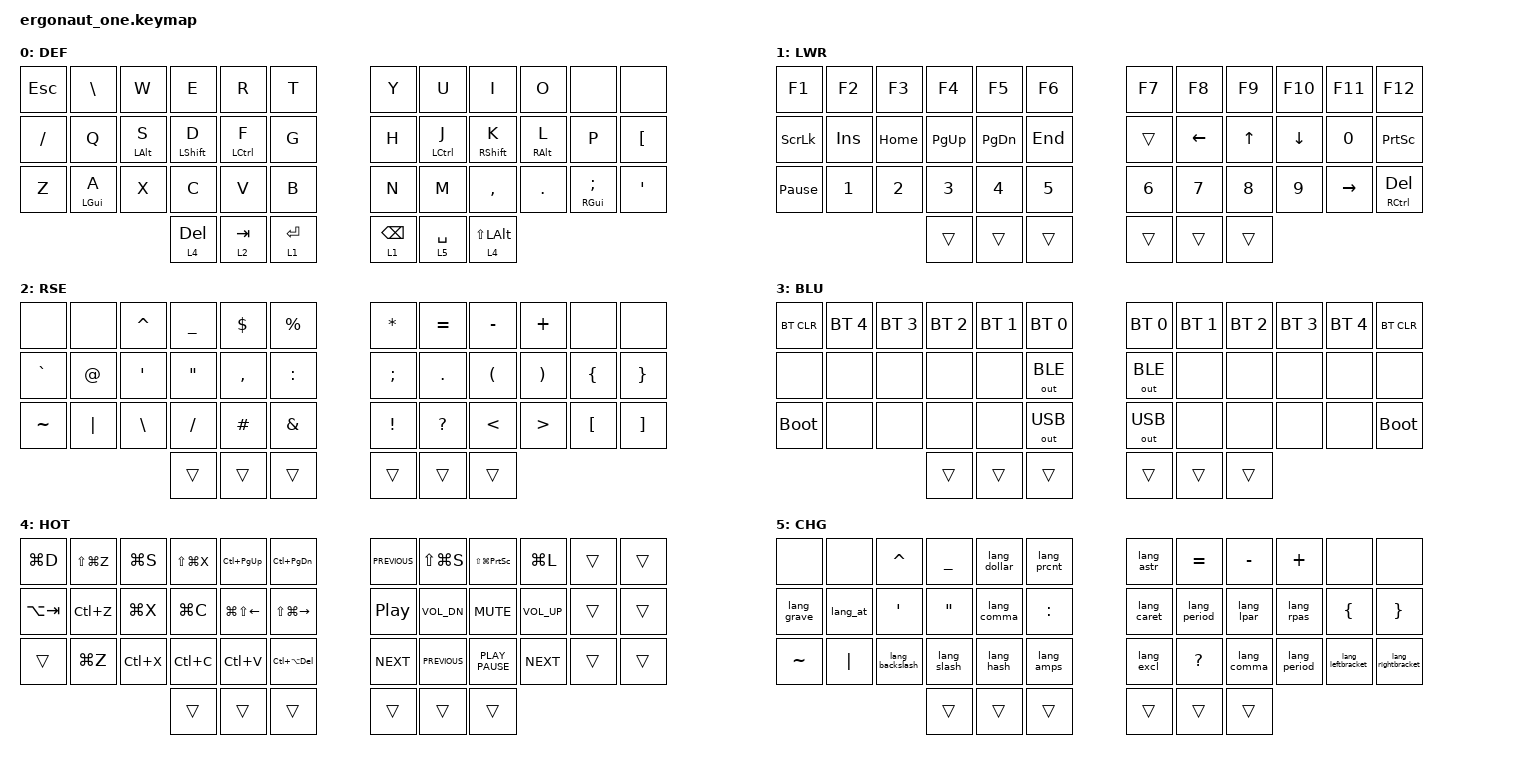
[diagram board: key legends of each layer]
#include <behaviors.dtsi>
#include <dt-bindings/zmk/bt.h>
#include <dt-bindings/zmk/keys.h>
#include <dt-bindings/zmk/outputs.h>

#define DEF 0
#define LWR 1
#define RSE 2
#define BLU 3
#define HOT 4
#define CHG 5

&lt {
    quick-tap-ms = <150>;
    tapping-term-ms = <150>;
};

&mt {
    quick-tap-ms = <200>;
    tapping-term-ms = <220>;
};

/ {
    conditional_layers { compatible = "zmk,conditional-layers"; };

    combos {
        compatible = "zmk,combos";

        bluetooth_layer_1 {
            bindings = <&mo BLU>;
            key-positions = <37 36 38>;
        };

        bluetooth_layer_2 {
            bindings = <&mo BLU>;
            key-positions = <41 36>;
        };

        bluetooth_layer_3 {
            bindings = <&mo BLU>;
            key-positions = <39 40 41>;
        };
    };

    macros {
        shift_lang: shift_lang {
            compatible = "zmk,behavior-macro";
            #binding-cells = <0>;
            bindings = <&kp LS(LALT)>;
        };

        lang_dollar: lang_dollar {
            compatible = "zmk,behavior-macro";
            #binding-cells = <0>;
            bindings = <&shift_lang &kp DOLLAR &shift_lang>;
        };

        lang_hash: lang_hash {
            compatible = "zmk,behavior-macro";
            #binding-cells = <0>;
            bindings = <&shift_lang &kp HASH &shift_lang>;
        };

        lang_at: lang_at {
            compatible = "zmk,behavior-macro";
            #binding-cells = <0>;
            bindings = <&shift_lang &kp AT_SIGN &shift_lang>;
        };

        lang_excl: lang_excl {
            compatible = "zmk,behavior-macro";
            #binding-cells = <0>;
            bindings = <&shift_lang &kp EXCLAMATION &shift_lang>;
        };

        lang_amps: lang_amps {
            compatible = "zmk,behavior-macro";
            #binding-cells = <0>;
            bindings = <&shift_lang &kp AMPERSAND &shift_lang>;
        };

        lang_astr: lang_astr {
            compatible = "zmk,behavior-macro";
            #binding-cells = <0>;
            bindings = <&shift_lang &kp ASTERISK &shift_lang>;
        };

        lang_lpar: lang_lpar {
            compatible = "zmk,behavior-macro";
            #binding-cells = <0>;
            bindings = <&shift_lang &kp LEFT_PARENTHESIS &shift_lang>;
        };

        lang_rpas: lang_rpas {
            compatible = "zmk,behavior-macro";
            #binding-cells = <0>;
            bindings = <&shift_lang &kp RIGHT_PARENTHESIS &shift_lang>;
        };

        lang_prcnt: lang_prcnt {
            compatible = "zmk,behavior-macro";
            #binding-cells = <0>;
            bindings = <&shift_lang &kp PERCENT &shift_lang>;
        };

        lang_caret: lang_caret {
            compatible = "zmk,behavior-macro";
            #binding-cells = <0>;
            bindings = <&shift_lang &kp CARET &shift_lang>;
        };

        lang_comma: lang_comma {
            compatible = "zmk,behavior-macro";
            #binding-cells = <0>;
            bindings = <&shift_lang &kp COMMA &shift_lang>;
        };

        lang_period: lang_period {
            compatible = "zmk,behavior-macro";
            #binding-cells = <0>;
            bindings = <&shift_lang &kp PERIOD &shift_lang>;
        };

        lang_slash: lang_slash {
            compatible = "zmk,behavior-macro";
            #binding-cells = <0>;
            bindings = <&shift_lang &kp SLASH &shift_lang>;
        };

        lang_backslash: lang_backslash {
            compatible = "zmk,behavior-macro";
            #binding-cells = <0>;
            bindings = <&shift_lang &kp BACKSLASH &shift_lang>;
        };

        lang_leftbracket: lang_leftbracket {
            compatible = "zmk,behavior-macro";
            #binding-cells = <0>;
            bindings = <&shift_lang &kp LEFT_BRACKET &shift_lang>;
        };

        lang_rightbracket: lang_rightbracket {
            compatible = "zmk,behavior-macro";
            #binding-cells = <0>;
            bindings = <&shift_lang &kp RIGHT_BRACKET &shift_lang>;
        };

        lang_grave: lang_grave {
            compatible = "zmk,behavior-macro";
            #binding-cells = <0>;
            bindings = <&shift_lang &kp GRAVE &shift_lang>;
        };
    };

    keymap {
        compatible = "zmk,keymap";

        default_layer {
            display-name = "DEF";
            bindings = <
&kp ESC    &kp BACKSLASH   &kp W           &kp E             &kp R        &kp T      &kp Y            &kp U        &kp I              &kp O            &none                    &none
&kp SLASH  &kp Q           &mt LEFT_ALT S  &mt LEFT_SHIFT D  &mt LCTRL F  &kp G      &kp H            &mt LCTRL J  &mt RIGHT_SHIFT K  &mt RIGHT_ALT L  &kp P                    &kp LEFT_BRACKET
&kp Z      &mt LEFT_GUI A  &kp X           &kp C             &kp V        &kp B      &kp N            &kp M        &kp COMMA          &kp DOT          &mt RIGHT_GUI SEMICOLON  &kp SQT
                                           &lt 4 DEL         &lt 2 TAB    &lt 1 RET  &lt 1 BACKSPACE  &lt 5 SPACE  &lt 4 LS(LALT)
            >;
        };

        lower_layer {
            display-name = "LWR";
            bindings = <
&kp F1           &kp F2      &kp F3    &kp F4     &kp F5     &kp F6   &kp F7  &kp F8    &kp F9  &kp F10   &kp F11       &kp F12
&kp SCROLLLOCK   &kp INSERT  &kp HOME  &kp PG_UP  &kp PG_DN  &kp END  &trans  &kp LEFT  &kp UP  &kp DOWN  &kp NUMBER_0  &kp PRINTSCREEN
&kp PAUSE_BREAK  &kp N1      &kp N2    &kp N3     &kp N4     &kp N5   &kp N6  &kp N7    &kp N8  &kp N9    &kp RIGHT     &mt RCTRL DELETE
                                       &trans     &trans     &trans   &trans  &trans    &trans
            >;
        };

        raise_layer {
            display-name = "RSE";
            bindings = <
&none      &none        &kp CARET       &kp UNDERSCORE     &kp DOLLAR  &kp PERCENT    &kp ASTERISK     &kp EQUAL     &kp MINUS             &kp PLUS               &none             &none
&kp GRAVE  &kp AT_SIGN  &kp APOSTROPHE  &kp DOUBLE_QUOTES  &kp COMMA   &kp COLON      &kp SEMICOLON    &kp PERIOD    &kp LEFT_PARENTHESIS  &kp RIGHT_PARENTHESIS  &kp LEFT_BRACE    &kp RIGHT_BRACE
&kp TILDE  &kp PIPE     &kp BACKSLASH   &kp SLASH          &kp HASH    &kp AMPERSAND  &kp EXCLAMATION  &kp QUESTION  &kp LESS_THAN         &kp GREATER_THAN       &kp LEFT_BRACKET  &kp RIGHT_BRACKET
                                        &trans             &trans      &trans         &trans           &trans        &trans
            >;
        };

        bluetooth_layer {
            display-name = "BLU";
            bindings = <
&bt BT_CLR   &bt BT_SEL 4  &bt BT_SEL 3  &bt BT_SEL 2  &bt BT_SEL 1  &bt BT_SEL 0  &bt BT_SEL 0  &bt BT_SEL 1  &bt BT_SEL 2  &bt BT_SEL 3  &bt BT_SEL 4  &bt BT_CLR
&none        &none         &none         &none         &none         &out OUT_BLE  &out OUT_BLE  &none         &none         &none         &none         &none
&bootloader  &none         &none         &none         &none         &out OUT_USB  &out OUT_USB  &none         &none         &none         &none         &bootloader
                                         &trans        &trans        &trans        &trans        &trans        &trans
            >;
        };

        hotcut_layer {
            display-name = "HOT";
            bindings = <
&kp LG(D)    &kp LS(LG(Z))  &kp LG(S)  &kp LS(LG(X))  &kp LC(PG_UP)           &kp LC(PG_DN)       &kp C_PREVIOUS  &kp LS(LG(S))   &kp LS(LG(PSCRN))  &kp LG(L)     &trans  &trans
&kp LA(TAB)  &kp LC(Z)      &kp LG(X)  &kp LG(C)      &kp LG(LS(LEFT_ARROW))  &kp LS(LG(RIGHT))   &kp C_PP        &kp C_VOL_DN    &kp K_MUTE         &kp C_VOL_UP  &trans  &trans
&trans       &kp LG(Z)      &kp LC(X)  &kp LC(C)      &kp LC(V)               &kp LC(LA(DELETE))  &kp C_NEXT      &kp K_PREVIOUS  &kp K_PLAY_PAUSE   &kp C_NEXT    &trans  &trans
                                       &trans         &trans                  &trans              &trans          &trans          &trans
            >;
        };

        chg_lang {
            display-name = "CHG";
            bindings = <
&none        &none     &kp CARET        &kp UNDERSCORE     &lang_dollar  &lang_prcnt  &lang_astr   &kp EQUAL     &kp MINUS    &kp PLUS      &none              &none
&lang_grave  &lang_at  &kp APOS         &kp DOUBLE_QUOTES  &lang_comma   &kp COLON    &lang_caret  &lang_period  &lang_lpar   &lang_rpas    &kp LEFT_BRACE     &kp RIGHT_BRACE
&kp TILDE    &kp PIPE  &lang_backslash  &lang_slash        &lang_hash    &lang_amps   &lang_excl   &kp QUESTION  &lang_comma  &lang_period  &lang_leftbracket  &lang_rightbracket
                                        &trans             &trans        &trans       &trans       &trans        &trans
            >;
        };
    };
};
